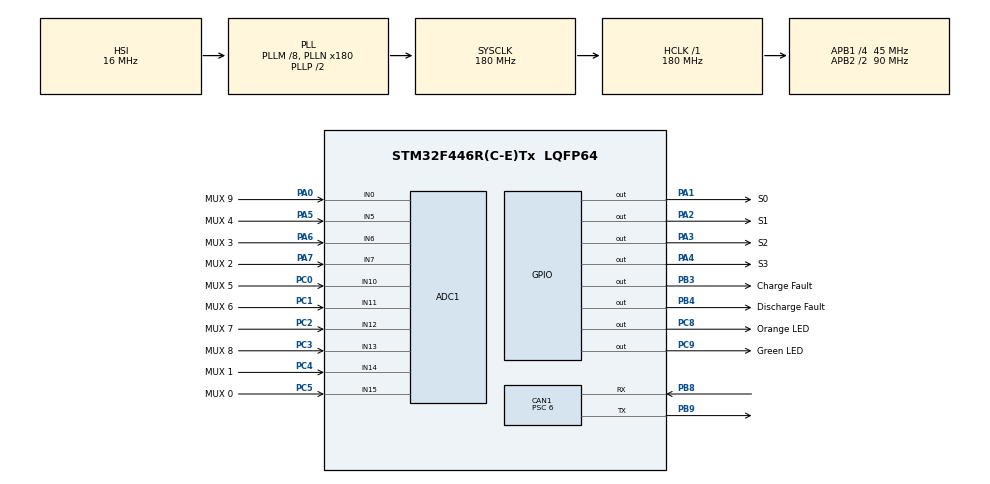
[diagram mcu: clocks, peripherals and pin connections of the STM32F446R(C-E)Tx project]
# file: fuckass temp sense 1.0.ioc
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ADC1.Channel-0\#ChannelRegularConversion=ADC_CHANNEL_15
ADC1.Channel-1\#ChannelRegularConversion=ADC_CHANNEL_14
ADC1.Channel-2\#ChannelRegularConversion=ADC_CHANNEL_7
ADC1.Channel-3\#ChannelRegularConversion=ADC_CHANNEL_6
ADC1.Channel-4\#ChannelRegularConversion=ADC_CHANNEL_5
ADC1.Channel-5\#ChannelRegularConversion=ADC_CHANNEL_10
ADC1.Channel-6\#ChannelRegularConversion=ADC_CHANNEL_11
ADC1.Channel-7\#ChannelRegularConversion=ADC_CHANNEL_12
ADC1.Channel-8\#ChannelRegularConversion=ADC_CHANNEL_13
ADC1.Channel-9\#ChannelRegularConversion=ADC_CHANNEL_0
ADC1.ContinuousConvMode=DISABLE
ADC1.DMAContinuousRequests=ENABLE
ADC1.ExternalTrigConv=ADC_EXTERNALTRIGCONV_T2_TRGO
ADC1.NbrOfConversion=10
ADC1.NbrOfConversionFlag=1
ADC1.Rank-0\#ChannelRegularConversion=1
ADC1.Rank-1\#ChannelRegularConversion=2
ADC1.Rank-2\#ChannelRegularConversion=3
ADC1.Rank-3\#ChannelRegularConversion=4
ADC1.Rank-4\#ChannelRegularConversion=5
ADC1.Rank-5\#ChannelRegularConversion=6
ADC1.Rank-6\#ChannelRegularConversion=7
ADC1.Rank-7\#ChannelRegularConversion=8
ADC1.Rank-8\#ChannelRegularConversion=9
ADC1.Rank-9\#ChannelRegularConversion=10
ADC1.SamplingTime-0\#ChannelRegularConversion=ADC_SAMPLETIME_480CYCLES
ADC1.SamplingTime-1\#ChannelRegularConversion=ADC_SAMPLETIME_480CYCLES
ADC1.SamplingTime-2\#ChannelRegularConversion=ADC_SAMPLETIME_480CYCLES
ADC1.SamplingTime-3\#ChannelRegularConversion=ADC_SAMPLETIME_480CYCLES
ADC1.SamplingTime-4\#ChannelRegularConversion=ADC_SAMPLETIME_480CYCLES
ADC1.SamplingTime-5\#ChannelRegularConversion=ADC_SAMPLETIME_480CYCLES
ADC1.SamplingTime-6\#ChannelRegularConversion=ADC_SAMPLETIME_480CYCLES
ADC1.SamplingTime-7\#ChannelRegularConversion=ADC_SAMPLETIME_480CYCLES
ADC1.SamplingTime-8\#ChannelRegularConversion=ADC_SAMPLETIME_480CYCLES
ADC1.SamplingTime-9\#ChannelRegularConversion=ADC_SAMPLETIME_480CYCLES
ADC1.ScanConvMode=ENABLE
ADC1.master=1
CAN1.BS1=CAN_BS1_7TQ
CAN1.BS2=CAN_BS2_7TQ
CAN1.CalculateBaudRate=500000
CAN1.CalculateTimeBit=2000
CAN1.CalculateTimeQuantum=133.33333333333331
CAN1.Prescaler=6
Dma.ADC1.0.Direction=DMA_PERIPH_TO_MEMORY
Dma.ADC1.0.FIFOMode=DMA_FIFOMODE_DISABLE
Dma.ADC1.0.Instance=DMA2_Stream0
Dma.ADC1.0.MemDataAlignment=DMA_MDATAALIGN_HALFWORD
Dma.ADC1.0.MemInc=DMA_MINC_ENABLE
Dma.ADC1.0.Mode=DMA_CIRCULAR
Dma.ADC1.0.PeriphDataAlignment=DMA_PDATAALIGN_HALFWORD
Dma.ADC1.0.PeriphInc=DMA_PINC_DISABLE
Dma.ADC1.0.Priority=DMA_PRIORITY_LOW
Dma.Request0=ADC1
Mcu.Family=STM32F4
Mcu.Name=STM32F446R(C-E)Tx
Mcu.Package=LQFP64
NVIC.DMA2_Stream0_IRQn=true\:0\:0\:false\:false\:true\:false\:true\:true
NVIC.PriorityGroup=NVIC_PRIORITYGROUP_4
PA0-WKUP.GPIO_Label=MUX 9
PA0-WKUP.Signal=ADCx_IN0
PA1.GPIO_Label=S0
PA1.Signal=GPIO_Output
PA13.Mode=Serial_Wire
PA13.Signal=SYS_JTMS-SWDIO
PA14.Mode=Serial_Wire
PA14.Signal=SYS_JTCK-SWCLK
PA2.GPIO_Label=S1
PA2.Signal=GPIO_Output
PA3.GPIO_Label=S2
PA3.Signal=GPIO_Output
PA4.GPIO_Label=S3
PA4.Signal=GPIO_Output
PA5.GPIO_Label=MUX 4
PA5.Signal=ADCx_IN5
PA6.GPIO_Label=MUX 3
PA6.Signal=ADCx_IN6
PA7.GPIO_Label=MUX 2
PA7.Signal=ADCx_IN7
PB3.GPIO_Label=Charge Fault
PB3.Signal=GPIO_Output
PB4.GPIO_Label=Discharge Fault
PB4.Signal=GPIO_Output
PB8.Mode=CAN_Activate
PB8.Signal=CAN1_RX
PB9.Mode=CAN_Activate
PB9.Signal=CAN1_TX
PC0.GPIO_Label=MUX 5
PC0.Signal=ADCx_IN10
PC1.GPIO_Label=MUX 6
PC1.Signal=ADCx_IN11
PC2.GPIO_Label=MUX 7
PC2.Signal=ADCx_IN12
PC3.GPIO_Label=MUX 8
PC3.Signal=ADCx_IN13
PC4.GPIO_Label=MUX 1
PC4.Signal=ADCx_IN14
PC5.GPIO_Label=MUX 0
PC5.Signal=ADCx_IN15
PC8.GPIO_Label=Orange LED
PC8.Signal=GPIO_Output
PC9.GPIO_Label=Green LED
PC9.Signal=GPIO_Output
PH0-OSC_IN.Mode=HSE-External-Oscillator
PH0-OSC_IN.Signal=RCC_OSC_IN
PH1-OSC_OUT.Mode=HSE-External-Oscillator
PH1-OSC_OUT.Signal=RCC_OSC_OUT
ProjectManager.HeapSize=0x200
ProjectManager.StackSize=0x400
ProjectManager.TargetToolchain=STM32CubeIDE
RCC.AHBFreq_Value=180000000
RCC.APB1CLKDivider=RCC_HCLK_DIV4
RCC.APB1Freq_Value=45000000
RCC.APB1TimFreq_Value=90000000
RCC.APB2CLKDivider=RCC_HCLK_DIV2
RCC.APB2Freq_Value=90000000
RCC.APB2TimFreq_Value=180000000
RCC.CortexFreq_Value=180000000
RCC.HCLKFreq_Value=180000000
RCC.HSE_VALUE=8000000
RCC.PLLM=8
RCC.PLLN=180
RCC.SYSCLKFreq_VALUE=180000000
RCC.SYSCLKSource=RCC_SYSCLKSOURCE_PLLCLK
RCC.USBFreq_Value=180000000
RCC.VCOOutputFreq_Value=360000000
SH.ADCx_IN0.0=ADC1_IN0,IN0
SH.ADCx_IN10.0=ADC1_IN10,IN10
SH.ADCx_IN11.0=ADC1_IN11,IN11
SH.ADCx_IN12.0=ADC1_IN12,IN12
SH.ADCx_IN13.0=ADC1_IN13,IN13
SH.ADCx_IN14.0=ADC1_IN14,IN14
SH.ADCx_IN15.0=ADC1_IN15,IN15
SH.ADCx_IN5.0=ADC1_IN5,IN5
SH.ADCx_IN6.0=ADC1_IN6,IN6
SH.ADCx_IN7.0=ADC1_IN7,IN7
TIM2.AutoReloadPreload=TIM_AUTORELOAD_PRELOAD_DISABLE
TIM2.Channel-Output\ Compare1\ No\ Output=TIM_CHANNEL_1
TIM2.OCMode_1=TIM_OCMODE_ACTIVE
TIM2.Period=999
TIM2.Prescaler=8999
TIM2.TIM_MasterOutputTrigger=TIM_TRGO_UPDATE
VP_TIM2_VS_ClockSourceINT.Mode=Internal
VP_TIM2_VS_no_output1.Mode=Output Compare1 No Output
board=custom

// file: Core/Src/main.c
/* USER CODE BEGIN Header */
/* USER CODE BEGIN Header */
/**
  ******************************************************************************
  * @file           : main.c
  * @brief          : Main program body
  ******************************************************************************
  * @attention
  *
  * Copyright (c) 2026 STMicroelectronics.
  * All rights reserved.
  *
  * This software is licensed under terms that can be found in the LICENSE file
  * in the root directory of this software component.
  * If no LICENSE file comes with this software, it is provided AS-IS.
  *
  ******************************************************************************
  */
/* USER CODE END Header */
#include "main.h"
#include "adc.h"
#include "can.h"
#include "dma.h"
#include "tim.h"
#include "gpio.h"

/* USER CODE BEGIN Includes */
#include <stdint.h>
#include <string.h>

#include "temp_sense.h"
/* USER CODE END Includes */

/* USER CODE BEGIN PV */

volatile uint32_t tempBuffer[MUX_BANK_COUNT];

CAN_RxHeaderTypeDef rxHeaderFIFO0;
uint8_t dataFIFO0[8] = { (0x00U) };
/* USER CODE END PV */

void SystemClock_Config(void);
/* USER CODE BEGIN PFP */
static void     selectMuxChannel(uint8_t channel);
static Result_t sendCanMessage(uint32_t canStdId, CanData_t data, uint32_t dlc);
static void     setFaultLine(FaultLine_e faultLine);
static void     clearFaultLine(FaultLine_e faultLine);
/* USER CODE END PFP */

/* USER CODE BEGIN 0 */
void HAL_CAN_RxFifo0MsgPendingCallback(CAN_HandleTypeDef *hcan)
{
  /* Prevent unused argument(s) compilation warning */
  //UNUSED(hcan);

  if (hcan->Instance == CAN1)
  {
    HAL_CAN_GetRxMessage(hcan, CAN_RX_FIFO0, &rxHeaderFIFO0, dataFIFO0);
    CanData_t data;
    memcpy(data.data8, dataFIFO0, sizeof(data.data8));
    handle_can_message(rxHeaderFIFO0.StdId, data, rxHeaderFIFO0.DLC);
  }

  /* NOTE : This function Should not be modified, when the callback is needed,
            the HAL_CAN_RxFifo0MsgPendingCallback could be implemented in the
            user file
   */
}

void HAL_ADC_ConvCpltCallback(ADC_HandleTypeDef* hadc) {
  update_raw_temperatures((uint32_t *)tempBuffer);
}
/* USER CODE END 0 */

int main(void)
{

  /* MCU Configuration--------------------------------------------------------*/

  /* Reset of all peripherals, Initializes the Flash interface and the Systick. */
  HAL_Init();

  /* USER CODE BEGIN Init */
  memset((void *) tempBuffer, 0, sizeof(tempBuffer));
  /* USER CODE END Init */

  /* Configure the system clock */
  SystemClock_Config();

  /* Initialize all configured peripherals */
  MX_GPIO_Init();
  MX_DMA_Init();
  MX_ADC1_Init();
  MX_TIM2_Init();
  MX_CAN1_Init();
  /* USER CODE BEGIN 2 */

  TempSenseInit_t tempSenseInit = {
      .selectMuxCell = selectMuxChannel,
      .sendCanMessage = sendCanMessage,
      .setFault = setFaultLine,
      .clearFault = clearFaultLine
  };
  initialize_temp_sense(tempSenseInit);

  if (HAL_ADC_Start_DMA (&hadc1, (uint32_t*) tempBuffer, MUX_BANK_COUNT) != HAL_OK) {
    Error_Handler();
  }
  if (HAL_TIM_Base_Start(&htim2) != HAL_OK) {
    Error_Handler();
  }

  if (HAL_CAN_Start(&hcan1) != HAL_OK) {
    Error_Handler();
  }

  HAL_CAN_ActivateNotification(&hcan1, CAN_IT_RX_FIFO0_MSG_PENDING);
  TS_ECU_ChargingStateTrigFilterConfig();
  TS_ECU_SYNC_RX1_FilterConfig();
  TS_ECU_SYNC_RX2_FilterConfig();
  /* USER CODE END 2 */

  /* Infinite loop */
  /* USER CODE BEGIN WHILE */
  HAL_Delay(150);
  while (1)
  {
    /* USER CODE END WHILE */

    /* USER CODE BEGIN 3 */
    loop();
  }
  /* USER CODE END 3 */
}

void SystemClock_Config(void)
{
  RCC_OscInitTypeDef RCC_OscInitStruct = {0};
  RCC_ClkInitTypeDef RCC_ClkInitStruct = {0};

  /** Configure the main internal regulator output voltage
  */
  __HAL_RCC_PWR_CLK_ENABLE();
  __HAL_PWR_VOLTAGESCALING_CONFIG(PWR_REGULATOR_VOLTAGE_SCALE1);

  /** Initializes the RCC Oscillators according to the specified parameters
  * in the RCC_OscInitTypeDef structure.
  */
  RCC_OscInitStruct.OscillatorType = RCC_OSCILLATORTYPE_HSI;
  RCC_OscInitStruct.HSIState = RCC_HSI_ON;
  RCC_OscInitStruct.HSICalibrationValue = RCC_HSICALIBRATION_DEFAULT;
  RCC_OscInitStruct.PLL.PLLState = RCC_PLL_ON;
  RCC_OscInitStruct.PLL.PLLSource = RCC_PLLSOURCE_HSI;
  RCC_OscInitStruct.PLL.PLLM = 8;
  RCC_OscInitStruct.PLL.PLLN = 180;
  RCC_OscInitStruct.PLL.PLLP = RCC_PLLP_DIV2;
  RCC_OscInitStruct.PLL.PLLQ = 2;
  RCC_OscInitStruct.PLL.PLLR = 2;
  if (HAL_RCC_OscConfig(&RCC_OscInitStruct) != HAL_OK)
  {
    Error_Handler();
  }

  /** Activate the Over-Drive mode
  */
  if (HAL_PWREx_EnableOverDrive() != HAL_OK)
  {
    Error_Handler();
  }

  /** Initializes the CPU, AHB and APB buses clocks
  */
  RCC_ClkInitStruct.ClockType = RCC_CLOCKTYPE_HCLK|RCC_CLOCKTYPE_SYSCLK
                              |RCC_CLOCKTYPE_PCLK1|RCC_CLOCKTYPE_PCLK2;
  RCC_ClkInitStruct.SYSCLKSource = RCC_SYSCLKSOURCE_PLLCLK;
  RCC_ClkInitStruct.AHBCLKDivider = RCC_SYSCLK_DIV1;
  RCC_ClkInitStruct.APB1CLKDivider = RCC_HCLK_DIV4;
  RCC_ClkInitStruct.APB2CLKDivider = RCC_HCLK_DIV2;

  if (HAL_RCC_ClockConfig(&RCC_ClkInitStruct, FLASH_LATENCY_5) != HAL_OK)
  {
    Error_Handler();
  }
}

/* USER CODE BEGIN 4 */
static void selectMuxChannel(uint8_t channel) {
  HAL_GPIO_WritePin(S0_GPIO_Port, S0_Pin, (channel & 0b0001) ? GPIO_PIN_SET : GPIO_PIN_RESET);
  HAL_GPIO_WritePin(S1_GPIO_Port, S1_Pin, (channel & 0b0010) ? GPIO_PIN_SET : GPIO_PIN_RESET);
  HAL_GPIO_WritePin(S2_GPIO_Port, S2_Pin, (channel & 0b0100) ? GPIO_PIN_SET : GPIO_PIN_RESET);
  HAL_GPIO_WritePin(S3_GPIO_Port, S3_Pin, (channel & 0b1000) ? GPIO_PIN_SET : GPIO_PIN_RESET);
}

static Result_t sendCanMessage(uint32_t canStdId, CanData_t data, uint32_t dlc) {
  CAN_TxHeaderTypeDef txHeader = {
      .StdId = canStdId,
      .ExtId = (uint32_t)0,
      .RTR = CAN_RTR_DATA,
      .IDE = CAN_ID_STD,
      .DLC = dlc
  };
  uint32_t mailbox = 0;

  if (HAL_CAN_AddTxMessage(&hcan1, &txHeader, data.data8, &mailbox) != HAL_OK) {
    return RESULT_FAILED;
  }

  uint32_t startTick = HAL_GetTick();
  while(HAL_CAN_IsTxMessagePending(&hcan1, mailbox)) {
    if ((HAL_GetTick() - startTick) > 5) {
      return RESULT_FAILED;
    }
  }

  return RESULT_OK;
}

void setFaultLine(FaultLine_e faultLine) {
  if (faultLine & DISCHARGE_TEMP_FAULT) {
    HAL_GPIO_WritePin(Discharge_Fault_GPIO_Port, Discharge_Fault_Pin, GPIO_PIN_SET);
  } else if (faultLine & CHARGE_TEMP_FAULT) {
    HAL_GPIO_WritePin(Charge_Fault_GPIO_Port, Charge_Fault_Pin, GPIO_PIN_SET);
  }
}

void clearFaultLine(FaultLine_e faultLine) {
  if (faultLine & DISCHARGE_TEMP_FAULT) {
    HAL_GPIO_WritePin(Discharge_Fault_GPIO_Port, Discharge_Fault_Pin, GPIO_PIN_RESET);
  } else if (faultLine & CHARGE_TEMP_FAULT) {
    HAL_GPIO_WritePin(Charge_Fault_GPIO_Port, Charge_Fault_Pin, GPIO_PIN_RESET);
  }
}
/* USER CODE END 4 */

void Error_Handler(void)
{
  /* USER CODE BEGIN Error_Handler_Debug */
  /* User can add his own implementation to report the HAL error return state */
  __disable_irq();
  setFaultLine(CHARGE_TEMP_FAULT | DISCHARGE_TEMP_FAULT);
  while (1)
  {
  }
  /* USER CODE END Error_Handler_Debug */
}
